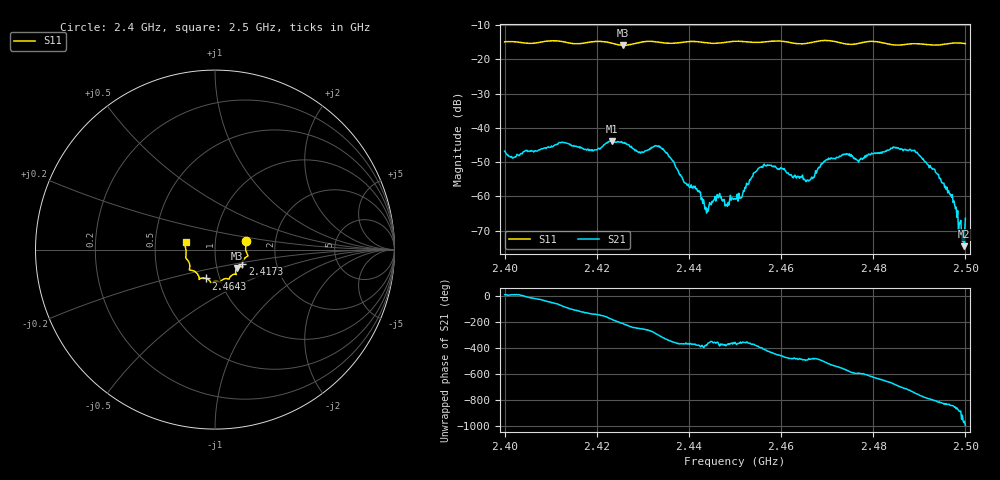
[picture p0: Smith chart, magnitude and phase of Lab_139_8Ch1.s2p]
# Hz S RI R 50
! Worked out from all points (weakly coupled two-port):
!   601 points, 2.4 GHz to 2.5 GHz, reference 50 ohm
!   highest |S21| = -43.86 dB at 2.4233 GHz (marker M1); lowest = -74.5 dB at 2.4997 GHz (marker M2)
!   lowest |S11| = -15.9 dB at 2.4257 GHz (marker M3), VSWR 1.38, Z = 62.5 - j13.1 ohm
!   |S11| at or under -10 dB: start of sweep to end of sweep
!   S12 and S22 are empty: the file has one direction only
!   S11 on the Smith chart (normalised r, x): 2.4 GHz: 1.41, +0.14; 2.4173 GHz: 1.34, -0.23; 2.4643 GHz: 0.86, -0.28; 2.5 GHz: 0.72, +0.06
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2.4e9  0.1735 0.0487  0.00447 0.000954  0 0  0 0
2.416667e9  0.153 -0.0745  -0.00247 -0.00443  0 0  0 0
2.417333e9  0.152 -0.0821  -0.00287 -0.00388  0 0  0 0
2.423333e9  0.143 -0.0943  -0.00641 -0.000196  0 0  0 0
2.425667e9  0.1228 -0.1025  -0.00522 0.00291  0 0  0 0
2.4295e9  0.1163 -0.1343  -0.00147 0.00401  0 0  0 0
2.433333e9  0.1131 -0.1373  0.00253 0.00468  0 0  0 0
2.442e9  0.0743 -0.1643  0.00111 -0.000377  0 0  0 0
2.443833e9  0.0644 -0.1612  0.000534 -0.000198  0 0  0 0
2.446167e9  0.0462 -0.1653  0.00106 0.000115  0 0  0 0
2.448167e9  0.0341 -0.1745  0.000734 -0.00022  0 0  0 0
2.45e9  0.0289 -0.1809  0.000926 8.8e-05  0 0  0 0
2.456e9  -0.00666 -0.1779  0.00188 -0.00185  0 0  0 0
2.464333e9  -0.0499 -0.1605  -0.00105 -0.00156  0 0  0 0
2.466667e9  -0.0759 -0.1592  -0.00105 -0.0016  0 0  0 0
2.470333e9  -0.0879 -0.1655  -0.00343 -0.00116  0 0  0 0
2.483333e9  -0.1405 -0.0897  0.00247 0.00401  0 0  0 0
2.489e9  -0.1626 -0.0454  0.00423 -0.00205  0 0  0 0
2.493667e9  -0.1611 -0.00629  0.0001 -0.00219  0 0  0 0
2.497e9  -0.1696 0.0271  -0.000528 -0.000815  0 0  0 0
2.499667e9  -0.1656 0.0404  -5.04e-05 0.000181  0 0  0 0
2.5e9  -0.1639 0.0425  5.34e-05 0.000477  0 0  0 0
